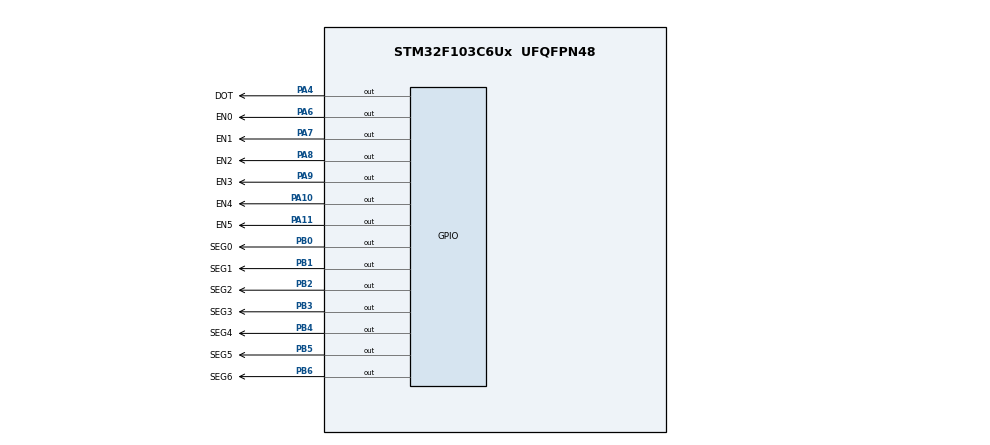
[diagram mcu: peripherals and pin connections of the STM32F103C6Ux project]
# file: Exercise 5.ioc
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Mcu.Family=STM32F1
Mcu.Name=STM32F103C6Ux
Mcu.Package=UFQFPN48
NVIC.PriorityGroup=NVIC_PRIORITYGROUP_4
NVIC.TIM2_IRQn=true\:0\:0\:false\:false\:true\:true\:true
PA10.GPIO_Label=EN4
PA10.Signal=GPIO_Output
PA11.GPIO_Label=EN5
PA11.Signal=GPIO_Output
PA4.GPIO_Label=DOT
PA4.Signal=GPIO_Output
PA6.GPIO_Label=EN0
PA6.Signal=GPIO_Output
PA7.GPIO_Label=EN1
PA7.Signal=GPIO_Output
PA8.GPIO_Label=EN2
PA8.Signal=GPIO_Output
PA9.GPIO_Label=EN3
PA9.Signal=GPIO_Output
PB0.GPIO_Label=SEG0
PB0.Signal=GPIO_Output
PB1.GPIO_Label=SEG1
PB1.Signal=GPIO_Output
PB2.GPIO_Label=SEG2
PB2.Signal=GPIO_Output
PB3.GPIO_Label=SEG3
PB3.Signal=GPIO_Output
PB4.GPIO_Label=SEG4
PB4.Signal=GPIO_Output
PB5.GPIO_Label=SEG5
PB5.Signal=GPIO_Output
PB6.GPIO_Label=SEG6
PB6.Signal=GPIO_Output
ProjectManager.HeapSize=0x200
ProjectManager.StackSize=0x400
ProjectManager.TargetToolchain=STM32CubeIDE
RCC.APB1Freq_Value=8000000
RCC.APB2Freq_Value=8000000
TIM2.Period=9
TIM2.Prescaler=7999
VP_SYS_VS_ND.Mode=No_Debug
VP_TIM2_VS_ClockSourceINT.Mode=Internal
board=custom

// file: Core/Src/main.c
/* USER CODE BEGIN Header */
/**
  ******************************************************************************
  * @file           : main.c
  * @brief          : Main program body
  ******************************************************************************
  * @attention
  *
  * <h2><center>&copy; Copyright (c) 2023 STMicroelectronics.
  * All rights reserved.</center></h2>
  *
  * This software component is licensed by ST under BSD 3-Clause license,
  * the "License"; You may not use this file except in compliance with the
  * License. You may obtain a copy of the License at:
  *                        opensource.org/licenses/BSD-3-Clause
  *
  ******************************************************************************
  */
/* USER CODE END Header */
#include "main.h"

/* USER CODE BEGIN Includes */
#include "software_timer.h"
/* USER CODE END Includes */

TIM_HandleTypeDef htim2;

void SystemClock_Config(void);
static void MX_GPIO_Init(void);
static void MX_TIM2_Init(void);

int main(void)
{

  /* MCU Configuration--------------------------------------------------------*/

  /* Reset of all peripherals, Initializes the Flash interface and the Systick. */
  HAL_Init();

  /* Configure the system clock */
  SystemClock_Config();

  /* Initialize all configured peripherals */
  MX_GPIO_Init();
  MX_TIM2_Init();
  /* USER CODE BEGIN 2 */
  HAL_TIM_Base_Start_IT(&htim2);
  void display7SEG(int num) {
	  char segNumber[10] = {0xC0, 0xF9, 0xA4, 0xB0, 0x99, 0x92, 0x82, 0xF8, 0x80, 0x90};
      for (int i = 0; i < 7; ++i) {
      HAL_GPIO_WritePin(GPIOB, GPIO_PIN_0 << i, (segNumber[num] >> i) & 1);
      }
  }
  int index_led = 0;
  int led_buffer [4] = {0,6,5,9};
  void update7SEG(int index){
  	  switch (index){
  	  	  case 0:
  	  		  display7SEG(led_buffer[0]);
  	  		  HAL_GPIO_WritePin(GPIOA, EN0_Pin, RESET);
  	  		  HAL_GPIO_WritePin(GPIOA, EN1_Pin, SET);
  	  		  HAL_GPIO_WritePin(GPIOA, EN2_Pin, SET);
  	  		  HAL_GPIO_WritePin(GPIOA, EN3_Pin, SET);
  	  		  break;
  	  	  case 1:
  	  		  display7SEG(led_buffer[1]);
  	  		  HAL_GPIO_WritePin(GPIOA, EN0_Pin, SET);
  	  		  HAL_GPIO_WritePin(GPIOA, EN1_Pin, RESET);
  	  		  HAL_GPIO_WritePin(GPIOA, EN2_Pin, SET);
  	  		  HAL_GPIO_WritePin(GPIOA, EN3_Pin, SET);
  	  		  break;
  	  	  case 2:
  	  		  display7SEG(led_buffer[2]);
  	  		  HAL_GPIO_WritePin(GPIOA, EN0_Pin, SET);
  	  		  HAL_GPIO_WritePin(GPIOA, EN1_Pin, SET);
  	  	      HAL_GPIO_WritePin(GPIOA, EN2_Pin, RESET);
  	  		  HAL_GPIO_WritePin(GPIOA, EN3_Pin, SET);
  	  		  break;
  	  	  case 3:
  	  		  display7SEG(led_buffer[3]);
  	  		  HAL_GPIO_WritePin(GPIOA, EN0_Pin, SET);
  	  		  HAL_GPIO_WritePin(GPIOA, EN1_Pin, SET);
  	  		  HAL_GPIO_WritePin(GPIOA, EN2_Pin, SET);
  	  		  HAL_GPIO_WritePin(GPIOA, EN3_Pin, RESET);
  	  		  break;
  	  	  default:
  	  		  break;
  	  }
    }
  int hour = 6, minute = 59, second = 50;
  void updateClockBuffer(){
	  led_buffer[0] = hour / 10;
	  led_buffer[1] = hour % 10;
	  led_buffer[2] = minute / 10;
	  led_buffer[3] = minute % 10;
  }
  /* USER CODE END 2 */

  /* Infinite loop */
  /* USER CODE BEGIN WHILE */
  setTimer1(01);
  setTimer2(01);
  setTimer3(01);
  while (1)
  {
	  if (timer1_flag == 1){
		  setTimer1(50);
	  	  HAL_GPIO_TogglePin(GPIOA, DOT_Pin);
	  }
	  if (timer2_flag == 1){
		  second++;
		  if (second >= 60){
			  second = 0;
			  minute++;
		  }
		  if (minute >= 60){
			  minute = 0;
			  hour++;
		  }
		  if (hour >= 24){
			  hour = 0;
		  }
		  updateClockBuffer();
		  setTimer2(100);
	  }
	  if (timer3_flag == 1){
		  setTimer3(25);
		  update7SEG(index_led++);
		  if(index_led >= 4) index_led = 0;
	  }
    /* USER CODE END WHILE */

  }
}

void SystemClock_Config(void)
{
  RCC_OscInitTypeDef RCC_OscInitStruct = {0};
  RCC_ClkInitTypeDef RCC_ClkInitStruct = {0};

  /** Initializes the RCC Oscillators according to the specified parameters
  * in the RCC_OscInitTypeDef structure.
  */
  RCC_OscInitStruct.OscillatorType = RCC_OSCILLATORTYPE_HSI;
  RCC_OscInitStruct.HSIState = RCC_HSI_ON;
  RCC_OscInitStruct.HSICalibrationValue = RCC_HSICALIBRATION_DEFAULT;
  RCC_OscInitStruct.PLL.PLLState = RCC_PLL_NONE;
  if (HAL_RCC_OscConfig(&RCC_OscInitStruct) != HAL_OK)
  {
    Error_Handler();
  }
  /** Initializes the CPU, AHB and APB buses clocks
  */
  RCC_ClkInitStruct.ClockType = RCC_CLOCKTYPE_HCLK|RCC_CLOCKTYPE_SYSCLK
                              |RCC_CLOCKTYPE_PCLK1|RCC_CLOCKTYPE_PCLK2;
  RCC_ClkInitStruct.SYSCLKSource = RCC_SYSCLKSOURCE_HSI;
  RCC_ClkInitStruct.AHBCLKDivider = RCC_SYSCLK_DIV1;
  RCC_ClkInitStruct.APB1CLKDivider = RCC_HCLK_DIV1;
  RCC_ClkInitStruct.APB2CLKDivider = RCC_HCLK_DIV1;

  if (HAL_RCC_ClockConfig(&RCC_ClkInitStruct, FLASH_LATENCY_0) != HAL_OK)
  {
    Error_Handler();
  }
}

static void MX_TIM2_Init(void)
{

  TIM_ClockConfigTypeDef sClockSourceConfig = {0};
  TIM_MasterConfigTypeDef sMasterConfig = {0};

  htim2.Instance = TIM2;
  htim2.Init.Prescaler = 7999;
  htim2.Init.CounterMode = TIM_COUNTERMODE_UP;
  htim2.Init.Period = 9;
  htim2.Init.ClockDivision = TIM_CLOCKDIVISION_DIV1;
  htim2.Init.AutoReloadPreload = TIM_AUTORELOAD_PRELOAD_DISABLE;
  if (HAL_TIM_Base_Init(&htim2) != HAL_OK)
  {
    Error_Handler();
  }
  sClockSourceConfig.ClockSource = TIM_CLOCKSOURCE_INTERNAL;
  if (HAL_TIM_ConfigClockSource(&htim2, &sClockSourceConfig) != HAL_OK)
  {
    Error_Handler();
  }
  sMasterConfig.MasterOutputTrigger = TIM_TRGO_RESET;
  sMasterConfig.MasterSlaveMode = TIM_MASTERSLAVEMODE_DISABLE;
  if (HAL_TIMEx_MasterConfigSynchronization(&htim2, &sMasterConfig) != HAL_OK)
  {
    Error_Handler();
  }

}

static void MX_GPIO_Init(void)
{
  GPIO_InitTypeDef GPIO_InitStruct = {0};

  /* GPIO Ports Clock Enable */
  __HAL_RCC_GPIOA_CLK_ENABLE();
  __HAL_RCC_GPIOB_CLK_ENABLE();

  /*Configure GPIO pin Output Level */
  HAL_GPIO_WritePin(GPIOA, DOT_Pin|EN0_Pin|EN1_Pin|EN2_Pin
                          |EN3_Pin|EN4_Pin|EN5_Pin, GPIO_PIN_RESET);

  /*Configure GPIO pin Output Level */
  HAL_GPIO_WritePin(GPIOB, SEG0_Pin|SEG1_Pin|SEG2_Pin|SEG3_Pin
                          |SEG4_Pin|SEG5_Pin|SEG6_Pin, GPIO_PIN_RESET);

  /*Configure GPIO pins : DOT_Pin EN0_Pin EN1_Pin EN2_Pin
                           EN3_Pin EN4_Pin EN5_Pin */
  GPIO_InitStruct.Pin = DOT_Pin|EN0_Pin|EN1_Pin|EN2_Pin
                          |EN3_Pin|EN4_Pin|EN5_Pin;
  GPIO_InitStruct.Mode = GPIO_MODE_OUTPUT_PP;
  GPIO_InitStruct.Pull = GPIO_NOPULL;
  GPIO_InitStruct.Speed = GPIO_SPEED_FREQ_LOW;
  HAL_GPIO_Init(GPIOA, &GPIO_InitStruct);

  /*Configure GPIO pins : SEG0_Pin SEG1_Pin SEG2_Pin SEG3_Pin
                           SEG4_Pin SEG5_Pin SEG6_Pin */
  GPIO_InitStruct.Pin = SEG0_Pin|SEG1_Pin|SEG2_Pin|SEG3_Pin
                          |SEG4_Pin|SEG5_Pin|SEG6_Pin;
  GPIO_InitStruct.Mode = GPIO_MODE_OUTPUT_PP;
  GPIO_InitStruct.Pull = GPIO_NOPULL;
  GPIO_InitStruct.Speed = GPIO_SPEED_FREQ_LOW;
  HAL_GPIO_Init(GPIOB, &GPIO_InitStruct);

}

/* USER CODE BEGIN 4 */
  void HAL_TIM_PeriodElapsedCallback(TIM_HandleTypeDef *htim){
	  timerRun();
  }
/* USER CODE END 4 */

void Error_Handler(void)
{
  __disable_irq();
  while (1)
  {
  }
}

/************************ (C) COPYRIGHT STMicroelectronics *****END OF FILE****/
